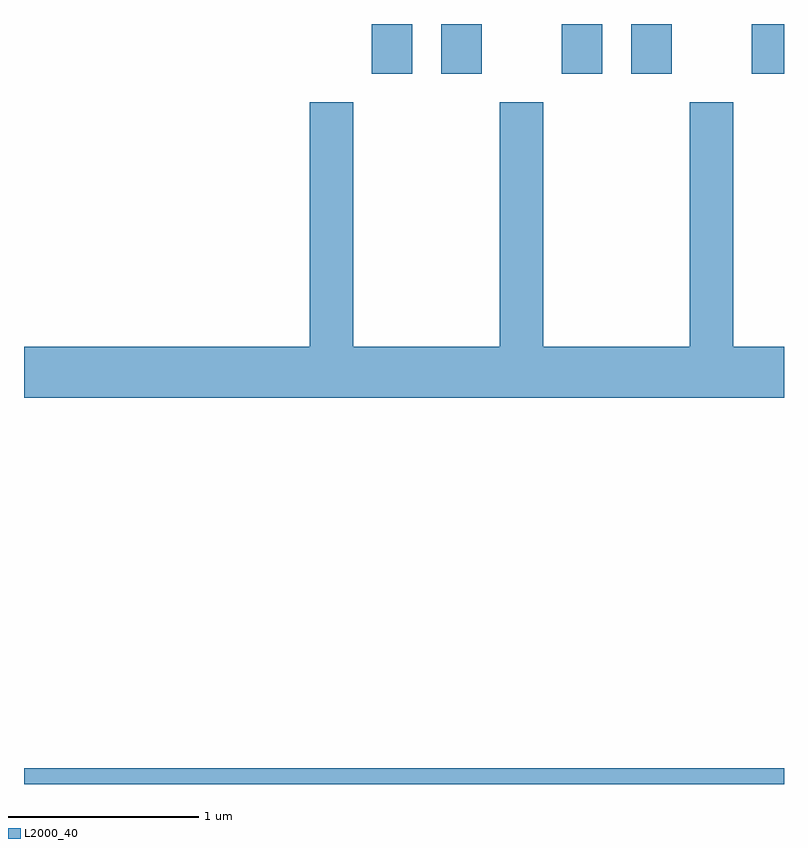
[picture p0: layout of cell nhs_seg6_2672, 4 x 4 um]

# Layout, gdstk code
import gdstk
lib = gdstk.Library(unit=1e-6, precision=1e-09)
def R(c, l, rs):  # rectangles x0, y0, x1, y1
    for r in rs: c.add(gdstk.rectangle(r[:2], r[2:], *l))
def P(c, l, *ps):  # polygons
    for p in ps: c.add(gdstk.Polygon(p, *l))
L2000_40 = (2000, 40)

nhs_seg6_2672 = lib.new_cell('nhs_seg6_2672')
R(nhs_seg6_2672, L2000_40, [(265.611,1610.162,269.611,1610.244), (267.441,1613.901,267.654,1614.162), (267.806,1613.901,268.019,1614.162), (268.441,1613.901,268.654,1614.162), (268.806,1613.901,269.019,1614.162), (269.441,1613.901,269.611,1614.162)])
P(nhs_seg6_2672, L2000_40, [(269.611,1612.464),(269.344,1612.464),(269.344,1613.749),(269.116,1613.749),(269.116,1612.464),(268.344,1612.464),(268.344,1613.749),(268.116,1613.749),(268.116,1612.464),(267.344,1612.464),(267.344,1613.749),(267.116,1613.749),(267.116,1612.464),(265.611,1612.464),(265.611,1612.196),(269.611,1612.196)])

lib.write_gds('nhs_seg6_2672.gds')
